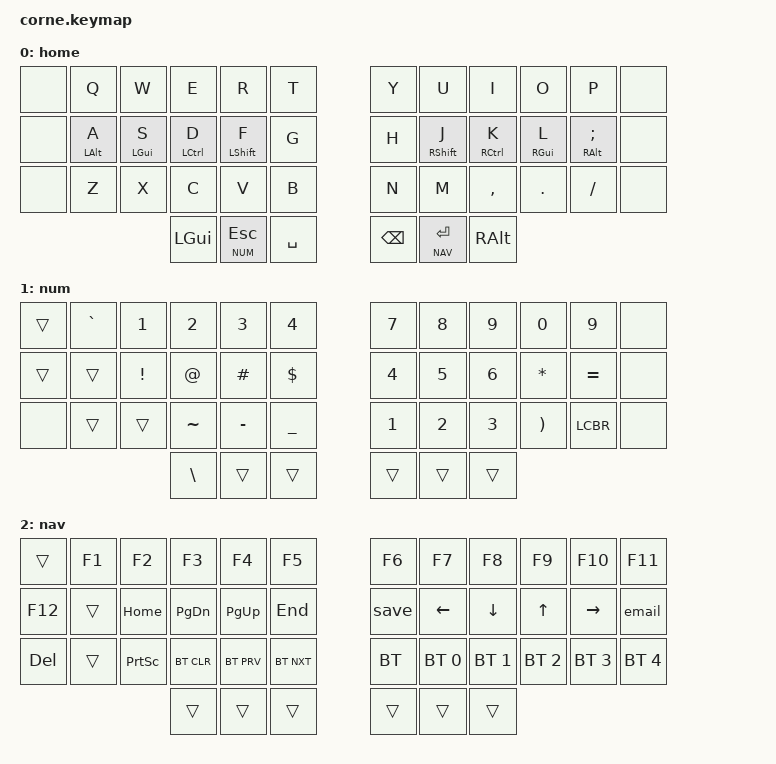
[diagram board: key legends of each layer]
/*
 * Copyright (c) 2020 The ZMK Contributors
 * SPDX-License-Identifier: MIT
 */

#include <dt-bindings/zmk/modifiers.h> // Include for modifier functions like LC()
#include <behaviors.dtsi>
#include <dt-bindings/zmk/bt.h>
#include <dt-bindings/zmk/keys.h>

/ {
    // Define layer numbers for readability

    #define HOME 0
    #define NUM  1
    #define NAV  2

    // #define SYM  3 // Example if you add more layers

    behaviors {
        // Consolidated Homerow Mod behavior

        hm: homerow_mods {
            compatible = "zmk,behavior-hold-tap";
            label = "HOMEROW_MODS";
            bindings = <&kp>, <&kp>;
 // Specific mods assigned in keymap
            #binding-cells = ;
            tapping-term-ms = ;    // Adjust based on testing (180-280 typical)
            flavor = "tap-preferred";    // Or "balanced" or "hold-preferred"
            quick-tap-ms = ;       // Optional: Helps with fast typing after hold-tap
            // require-prior-idle-ms = ; // Optional: Add if rolling keys causes issues
        };

        // Tap-dance for Backspace / Delete Word

        td_bspc_del: backspace_delete_word {
            compatible = "zmk,behavior-tap-dance";
            label = "TD_BSPC_DEL";
            #binding-cells = ;
            tapping-term-ms = ; // Adjust timing if needed
            bindings = <&kp BACKSPACE>, <&kp LC(BACKSPACE)>;
 // Tap: BSPC, Double Tap: DEL WORD
        };
    };

    combos {
        compatible = "zmk,combos";
        timeout-ms = ; // Trigger combo if keys pressed within 50ms
        require-prior-idle-ms = ; // Optional: prevent combos during fast typing
        // Ensure key-positions match your physical layout!
        // Examples assume 0-5 top left, 6-11 top right etc.

        combo_esc {
            bindings = <&kp ESC>;
            key-positions = <31 32>; // Check these positions (K=32, J=31 typical)
        };

        combo_tab {
            bindings = <&kp TAB>;
            key-positions = <14 15>; // Check these positions (S=14, D=15 typical)
        };

        combo_under {
            bindings = <&kp UNDER>;
            key-positions = <29 30>; // Check these positions (N=29, M=30 typical)
        };

        combo_caps {
            bindings = <&caps_word>; // Or <&kp CAPS> for Caps Lock
            key-positions = <18 19>; // Check these positions (Z=18, X=19 typical)
        };
    };

    macros {
        // Your macros seem fine, keep them if useful

        save: save {
            compatible = "zmk,behavior-macro";
            #binding-cells = ;
            bindings = <&macro_tap>, <&kp ESC &kp COLON &kp W &kp ENTER>;

            label = "SAVE"; // VIM save
        };

        email: email {
            compatible = "zmk,behavior-macro";
            #binding-cells = ;
            bindings = <&none &kp J &kp O &kp S &kp H &kp AT &kp J &kp O &kp S &kp H &kp B &kp L &kp A &kp I &kp S &kp DOT &kp C &kp O &kp M>;
            label = "EMAIL";
        };
    };

    keymap {
        compatible = "zmk,keymap";

        home {
            bindings = <
&none  &kp Q       &kp W       &kp E        &kp R         &kp T        &kp Y     &kp U          &kp I        &kp O       &kp P          &none
&none  &hm LALT A  &hm LGUI S  &hm LCTRL D  &hm LSHIFT F  &kp G        &kp H     &hm RSHIFT J   &hm RCTRL K  &hm RGUI L  &hm RALT SEMI  &none
&none  &kp Z       &kp X       &kp C        &kp V         &kp B        &kp N     &kp M          &kp COMMA    &kp DOT     &kp SLASH      &none
                               &kp LGUI     &lt NUM ESC   &kp SPACE    &kp BSPC  &lt NAV ENTER  &kp RALT
            >;

            label = "home";
        };

        num {
            bindings = <
&trans  &kp GRAVE  &kp N1    &kp N2     &kp N3     &kp N4            &kp N7        &kp N8        &kp N9        &kp N0     &kp N9     &none
&trans  &trans     &kp EXCL  &kp AT     &kp HASH   &kp DLLR          &kp NUMBER_4  &kp N5        &kp NUMBER_6  &kp ASTRK  &kp EQUAL  &none
&none   &trans     &trans    &kp TILDE  &kp MINUS  &kp UNDERSCORE    &kp NUMBER_1  &kp NUMBER_2  &kp NUMBER_3  &kp RPRN   &kp LCBR   &none
                             &kp BSLH   &trans     &trans            &trans        &trans        &trans
            >;

            label = "num";
        };

        nav {
            bindings = <
&trans   &kp F1  &kp F2     &kp F3      &kp F4      &kp F5        &kp F6      &kp F7    &kp F8    &kp F9    &kp F10    &kp F11
&kp F12  &trans  &kp HOME   &kp PG_DN   &kp PG_UP   &kp END       &save       &kp LEFT  &kp DOWN  &kp UP    &kp RIGHT  &email
&kp DEL  &trans  &kp PSCRN  &bt BT_CLR  &bt BT_PRV  &bt BT_NXT    &bt BT_SEL  &bt BT_0  &bt BT_1  &bt BT_2  &bt BT_3   &bt BT_4
                            &trans      &trans      &trans        &trans      &trans    &trans
            >;

            label = "nav";
        };
    };
};
